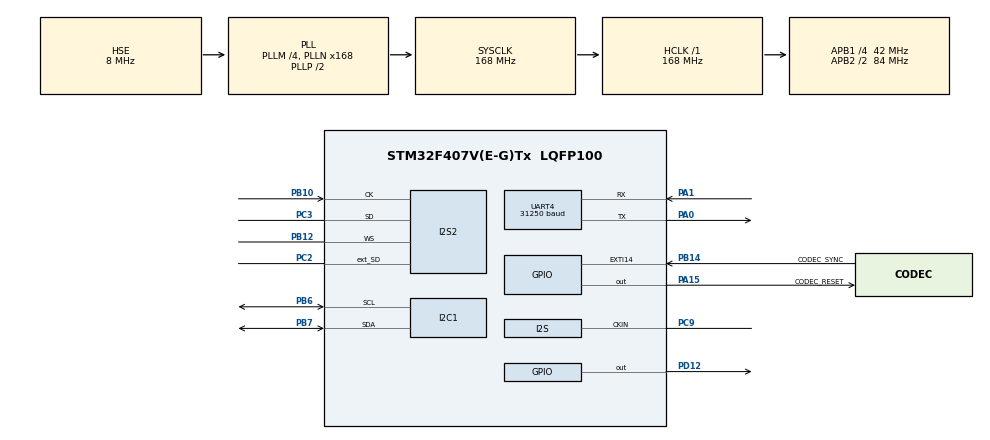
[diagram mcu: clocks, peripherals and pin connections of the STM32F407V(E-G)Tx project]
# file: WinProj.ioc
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Dma.I2S2_EXT_RX.0.Direction=DMA_PERIPH_TO_MEMORY
Dma.I2S2_EXT_RX.0.FIFOMode=DMA_FIFOMODE_DISABLE
Dma.I2S2_EXT_RX.0.Instance=DMA1_Stream3
Dma.I2S2_EXT_RX.0.MemDataAlignment=DMA_MDATAALIGN_HALFWORD
Dma.I2S2_EXT_RX.0.MemInc=DMA_MINC_ENABLE
Dma.I2S2_EXT_RX.0.Mode=DMA_CIRCULAR
Dma.I2S2_EXT_RX.0.PeriphDataAlignment=DMA_PDATAALIGN_HALFWORD
Dma.I2S2_EXT_RX.0.PeriphInc=DMA_PINC_DISABLE
Dma.I2S2_EXT_RX.0.Priority=DMA_PRIORITY_VERY_HIGH
Dma.Request0=I2S2_EXT_RX
Dma.Request1=SPI2_TX
Dma.SPI2_TX.1.Direction=DMA_MEMORY_TO_PERIPH
Dma.SPI2_TX.1.FIFOMode=DMA_FIFOMODE_DISABLE
Dma.SPI2_TX.1.Instance=DMA1_Stream4
Dma.SPI2_TX.1.MemDataAlignment=DMA_MDATAALIGN_HALFWORD
Dma.SPI2_TX.1.MemInc=DMA_MINC_ENABLE
Dma.SPI2_TX.1.Mode=DMA_NORMAL
Dma.SPI2_TX.1.PeriphDataAlignment=DMA_PDATAALIGN_HALFWORD
Dma.SPI2_TX.1.PeriphInc=DMA_PINC_DISABLE
Dma.SPI2_TX.1.Priority=DMA_PRIORITY_VERY_HIGH
I2S2.AudioFreq=I2S_AUDIOFREQ_96K
I2S2.ClockSource=I2S_CLOCK_EXTERNAL
I2S2.DataFormat=I2S_DATAFORMAT_16B
I2S2.ErrorAudioFreq=0.0 %
I2S2.FullDuplexMode=I2S_FULLDUPLEXMODE_ENABLE
I2S2.Instance=SPI$Index
I2S2.Mode=I2S_MODE_SLAVE_TX
I2S2.RealAudioFreq=96.0 KHz
I2S2.Standard=I2S_STANDARD_PHILIPS
I2S2.VirtualMode=I2S_MODE_SLAVE
Mcu.Family=STM32F4
Mcu.Name=STM32F407V(E-G)Tx
Mcu.Package=LQFP100
NVIC.DMA1_Stream3_IRQn=true\:0\:0\:false\:false\:true\:false\:true
NVIC.DMA1_Stream4_IRQn=true\:0\:0\:false\:false\:true\:false\:true
NVIC.EXTI15_10_IRQn=true\:0\:0\:false\:false\:true\:true\:true
NVIC.FPU_IRQn=true\:0\:0\:false\:false\:true\:true\:false
NVIC.I2C1_EV_IRQn=true\:0\:0\:false\:false\:true\:true\:true
NVIC.PriorityGroup=NVIC_PRIORITYGROUP_4
NVIC.SPI2_IRQn=true\:0\:0\:false\:false\:true\:true\:true
NVIC.TIM2_IRQn=true\:0\:0\:false\:false\:true\:true\:true
NVIC.UART4_IRQn=true\:0\:0\:false\:false\:true\:true\:true
PA0-WKUP.Mode=Asynchronous
PA0-WKUP.Signal=UART4_TX
PA1.Mode=Asynchronous
PA1.Signal=UART4_RX
PA13.Mode=Serial_Wire
PA13.Signal=SYS_JTMS-SWDIO
PA14.Mode=Serial_Wire
PA14.Signal=SYS_JTCK-SWCLK
PA15.GPIO_Label=CODEC_RESET
PA15.Signal=GPIO_Output
PB10.Mode=Full_Duplex_Slave
PB10.Signal=I2S2_CK
PB12.Mode=Full_Duplex_Slave
PB12.Signal=I2S2_WS
PB14.GPIO_Label=CODEC_SYNC
PB14.GPIO_PuPd=GPIO_NOPULL
PB14.Signal=GPXTI14
PB6.Mode=I2C
PB6.Signal=I2C1_SCL
PB7.Mode=I2C
PB7.Signal=I2C1_SDA
PC2.Mode=Full_Duplex_Slave
PC2.Signal=I2S2_ext_SD
PC3.Mode=Full_Duplex_Slave
PC3.Signal=I2S2_SD
PC9.Mode=Audio_ClockIn
PC9.Signal=I2S_CKIN
PD12.GPIO_Speed=GPIO_SPEED_FREQ_VERY_HIGH
PD12.Signal=GPIO_Output
PH0-OSC_IN.Mode=HSE-External-Oscillator
PH0-OSC_IN.Signal=RCC_OSC_IN
PH1-OSC_OUT.Mode=HSE-External-Oscillator
PH1-OSC_OUT.Signal=RCC_OSC_OUT
ProjectManager.HeapSize=0x200
ProjectManager.StackSize=0x400
ProjectManager.TargetToolchain=SW4STM32
RCC.48MHZClocksFreq_Value=84000000
RCC.AHBFreq_Value=168000000
RCC.APB1CLKDivider=RCC_HCLK_DIV4
RCC.APB1Freq_Value=42000000
RCC.APB1TimFreq_Value=84000000
RCC.APB2CLKDivider=RCC_HCLK_DIV2
RCC.APB2Freq_Value=84000000
RCC.APB2TimFreq_Value=168000000
RCC.CortexFreq_Value=168000000
RCC.EXTERNAL_CLOCK_VALUE=24576000
RCC.HCLKFreq_Value=168000000
RCC.HSE_VALUE=8000000
RCC.HSI_VALUE=16000000
RCC.I2SClockSource=I2S_CLOCK_EXTERNAL
RCC.LSE_VALUE=32768
RCC.PLLI2SN=172
RCC.PLLI2SR=7
RCC.PLLM=4
RCC.PLLN=168
RCC.PLLSourceVirtual=RCC_PLLSOURCE_HSE
RCC.SYSCLKFreq_VALUE=168000000
RCC.SYSCLKSource=RCC_SYSCLKSOURCE_PLLCLK
RCC.VCOOutputFreq_Value=336000000
TIM2.Period=1
TIM2.Prescaler=4000
UART4.BaudRate=31250
UART4.VirtualMode=Asynchronous
VP_TIM2_VS_ClockSourceINT.Mode=Internal
board=custom

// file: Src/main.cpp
/* USER CODE BEGIN Header */
/**
  ******************************************************************************
  * @file           : main.c
  * @brief          : Main program body
  ******************************************************************************
  * @attention
  *
  * <h2><center>&copy; Copyright (c) 2019 STMicroelectronics.
  * All rights reserved.</center></h2>
  *
  * This software component is licensed by ST under BSD 3-Clause license,
  * the "License"; You may not use this file except in compliance with the
  * License. You may obtain a copy of the License at:
  *                        opensource.org/licenses/BSD-3-Clause
  *
  ******************************************************************************
  */
/* USER CODE END Header */

#include "main.h"
#include "dma.h"
#include "i2c.h"
#include "i2s.h"
#include "tim.h"
#include "usart.h"
#include "gpio.h"

/* USER CODE BEGIN Includes */
//=====================================================================
// explanations for tags with "?" are located in ./WeirdProj/words.txt
//=====================================================================
#include <stdio.h>
#include <stdlib.h>
#include <math.h>
#include "arm_math.h"        // ?? math and FPU defines

#include <Globals.hpp>       // some global parameters
#include <Generic.hpp>       // ?? like voice
#include <Modules.hpp>       // all modules includes

#include <CodecDriver.hpp>
#include <MIDIparser.hpp>

//#include "tables.h" // ?i2s

/* USER CODE END Includes */

/* USER CODE BEGIN PV */
/* Private variables ---------------------------------------------------------*/
uint32_t millis = 0;

uint16_t i2sbufTX[100]; // ??
uint16_t i2sbufRX[100];

MIDI::MIDIparser parser;

uint8_t tempBufUART  = 0; // ?? midi temp
/* USER CODE END PV */

void SystemClock_Config(void);
/* USER CODE BEGIN PFP */
/* Private function prototypes -----------------------------------------------*/

/* USER CODE END PFP */

/* USER CODE BEGIN 0 */
void HAL_UART_TxCpltCallback(UART_HandleTypeDef *huart)
{
}

void HAL_UART_RxCpltCallback(UART_HandleTypeDef *huart)
{
 if(huart->Instance==UART4) {
	 parser.PushByte(tempBufUART);
 }
}
/* USER CODE END 0 */

int main(void)
{

  /* MCU Configuration--------------------------------------------------------*/

  /* Reset of all peripherals, Initializes the Flash interface and the Systick. */
  HAL_Init();

  /* Configure the system clock */
  SystemClock_Config();

  /* Initialize all configured peripherals */
  MX_GPIO_Init();
  MX_DMA_Init();
  MX_I2C1_Init();
  MX_I2S2_Init();
  MX_TIM2_Init();
  MX_UART4_Init();
  /* USER CODE BEGIN 2 */

	//=============== wire reconnect example ================
	Generator g1(1,440,0);
	Generator g2(1,440,0);
	Amp a1(1);
	Amp a2(1);
	// Wire a1 -> g1.amplification
	Wire w1(a1, g1, Parameter::ParamName::AMPLIFICATION);

	// Wire a1 -> g2.amplification
	w1.replugConsumer(g2, Parameter::ParamName::AMPLIFICATION);

	// Wire a2 -> g2.amplification
	w1.replugProvider(a2);
	//=======================================================

	for(int i = 0; i< 100; i++)
		i2sbufTX[i] = i;
	// Disable I2S to sync it with slave with EXTI (see errata i2s syncing issue)
	__HAL_I2S_DISABLE(&hi2s2);
	// Codec setup:
	CodecDriver Codec1(hi2c1, 0);
	Codec1.initCodec();

	HAL_I2SEx_TransmitReceive_DMA(&hi2s2, i2sbufTX, i2sbufRX, 100);

//  for(u8 i = 0; i <= 100; i++) {
//	  i2sbufTX[i]   = (u16)( ((arm_sin_f32( (float)(3.14*i/50.0) )) + 1) * 0x3FFF );
//  }

  /* USER CODE END 2 */

  /* Infinite loop */
  while (1)
  {

    /* USER CODE BEGIN 3 */

//	  for(u8 j = 30; j < 110; j++) {
//		  MIDI::SendNoteOn(j, 100);
//		  HAL_Delay(1000);
//		  MIDI::SendNoteOff(j, 100);
//		  HAL_Delay(1000);
//	  }
	  //HAL_I2S_Transmit(&hi2s2, i2sbufTX, 100, 1); // ?i2s
  }
  /* USER CODE END 3 */
}

void SystemClock_Config(void)
{
  RCC_OscInitTypeDef RCC_OscInitStruct = {0};
  RCC_ClkInitTypeDef RCC_ClkInitStruct = {0};

  /** Configure the main internal regulator output voltage
  */
  __HAL_RCC_PWR_CLK_ENABLE();
  __HAL_PWR_VOLTAGESCALING_CONFIG(PWR_REGULATOR_VOLTAGE_SCALE1);
  /** Initializes the CPU, AHB and APB busses clocks
  */
  RCC_OscInitStruct.OscillatorType = RCC_OSCILLATORTYPE_HSE;
  RCC_OscInitStruct.HSEState = RCC_HSE_ON;
  RCC_OscInitStruct.PLL.PLLState = RCC_PLL_ON;
  RCC_OscInitStruct.PLL.PLLSource = RCC_PLLSOURCE_HSE;
  RCC_OscInitStruct.PLL.PLLM = 4;
  RCC_OscInitStruct.PLL.PLLN = 168;
  RCC_OscInitStruct.PLL.PLLP = RCC_PLLP_DIV2;
  RCC_OscInitStruct.PLL.PLLQ = 4;
  if (HAL_RCC_OscConfig(&RCC_OscInitStruct) != HAL_OK)
  {
    Error_Handler();
  }
  /** Initializes the CPU, AHB and APB busses clocks
  */
  RCC_ClkInitStruct.ClockType = RCC_CLOCKTYPE_HCLK|RCC_CLOCKTYPE_SYSCLK
                              |RCC_CLOCKTYPE_PCLK1|RCC_CLOCKTYPE_PCLK2;
  RCC_ClkInitStruct.SYSCLKSource = RCC_SYSCLKSOURCE_PLLCLK;
  RCC_ClkInitStruct.AHBCLKDivider = RCC_SYSCLK_DIV1;
  RCC_ClkInitStruct.APB1CLKDivider = RCC_HCLK_DIV4;
  RCC_ClkInitStruct.APB2CLKDivider = RCC_HCLK_DIV2;

  if (HAL_RCC_ClockConfig(&RCC_ClkInitStruct, FLASH_LATENCY_5) != HAL_OK)
  {
    Error_Handler();
  }
}

/* USER CODE BEGIN 4 */
void HAL_I2SEx_TxRxCpltCallback(I2S_HandleTypeDef *hi2s) {
	if(hi2s == &hi2s2)
		while(1);
}
/* USER CODE END 4 */

void Error_Handler(void)
{
  while(1)
  {
  }
}

/************************ (C) COPYRIGHT STMicroelectronics *****END OF FILE****/
